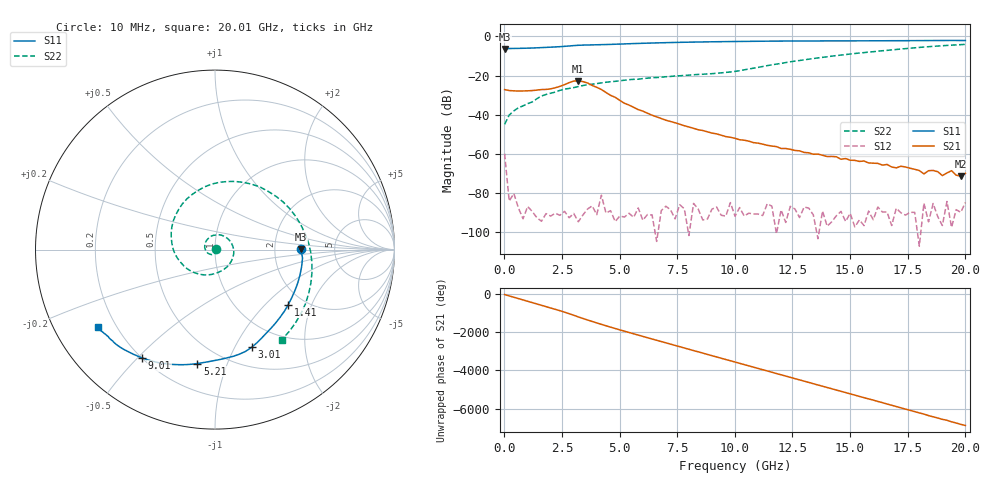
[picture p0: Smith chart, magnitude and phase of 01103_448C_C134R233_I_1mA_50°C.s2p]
!;Filter: kein Filter
!auto
!3/21/2019 9:26:39 AM
!3/21/2019 9:26:51 AM
!SP-Measurements Prober G4
!SP-Measurements Prober G4
!01103_448C
!134
!233
!12
!50
!-20
!0.00099996
!1.65
!0.05816927
!0.05816927
# Hz S  RI  R 50
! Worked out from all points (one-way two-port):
!   101 points, 10 MHz to 20.01 GHz, reference 50 ohm
!   highest |S21| = -22.68 dB at 3.21 GHz (marker M1); lowest = -71.3 dB at 19.81 GHz (marker M2)
!   lowest |S11| = -6.4 dB at 10 MHz (marker M3), VSWR 2.84, Z = 142 + j1.33 ohm
!   |S11| at or under -10 dB: nowhere
!   |S22| runs from -44.9 to -4.1 dB; largest |S21 - S12| = 0.073
!   S11 on the Smith chart (normalised r, x): 10 MHz: 2.84, +0.03; 1.41 GHz: 1.66, -1.38; 3.01 GHz: 0.71, -1.17; 5.21 GHz: 0.37, -0.79; 9.01 GHz: 0.20, -0.52; 20.01 GHz: 0.13, -0.30
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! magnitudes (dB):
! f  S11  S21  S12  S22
! 10 MHz  -6.4  -27.1  -59.8  -44.9
! 210 MHz  -6.2  -27.6  -84.0  -40.1
! 610 MHz  -6.1  -27.9  -87.5  -36.4
! 1.41 GHz  -5.8  -27.4  -92.5  -31.8
! 2.21 GHz  -5.4  -26.2  -90.2  -28.4
! 3.01 GHz  -4.7  -22.8  -90.3  -26.1
! 3.21 GHz  -4.5  -22.7  -94.6  -25.6
! 3.41 GHz  -4.5  -23.1  -91.1  -25.1
! 5.21 GHz  -3.8  -34.1  -92.2  -22.4
! 6.81 GHz  -3.3  -41.9  -88.9  -20.8
! 9.01 GHz  -2.8  -49.3  -88.1  -19.0
! 10.01 GHz  -2.6  -52.0  -91.7  -17.9
! 13.41 GHz  -2.3  -60.1  -91.1  -11.3
! 16.81 GHz  -2.2  -66.6  -96.5  -6.9
! 17.41 GHz  -2.2  -66.6  -91.2  -6.3
! 18.21 GHz  -2.2  -70.1  -85.1  -5.4
! 18.61 GHz  -2.1  -68.4  -85.2  -5.1
! 19.01 GHz  -2.1  -71.0  -96.5  -4.8
! 19.41 GHz  -2.1  -68.5  -97.4  -4.5
! 19.61 GHz  -2.1  -70.8  -88.4  -4.3
! 19.81 GHz  -2.1  -71.3  -89.7  -4.2
! 20.01 GHz  -2.1  -69.9  -84.7  -4.1
